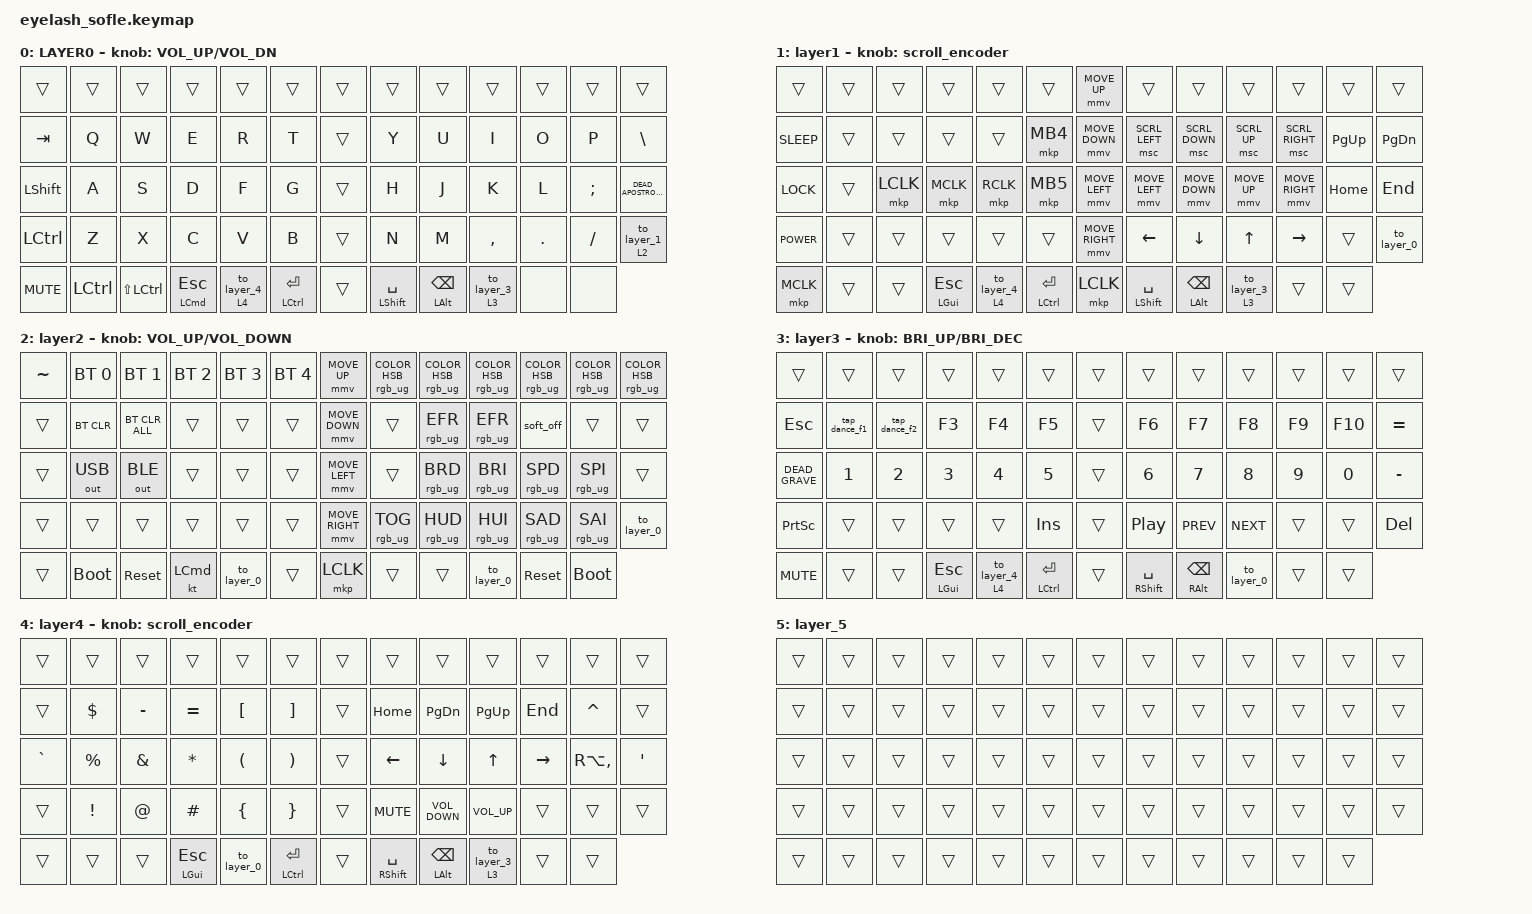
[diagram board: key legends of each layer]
#define ZMK_POINTING_DEFAULT_MOVE_VAL 1200  // 600
#define ZMK_POINTING_DEFAULT_SCRL_VAL 25   // 10

#include <input/processors.dtsi>
#include <zephyr/dt-bindings/input/input-event-codes.h>
#include <behaviors.dtsi>
#include <dt-bindings/zmk/bt.h>
#include <dt-bindings/zmk/keys.h>
#include <dt-bindings/zmk/outputs.h>
#include <dt-bindings/zmk/pointing.h>
#include <dt-bindings/zmk/rgb.h>

&mmv_input_listener { input-processors = <&zip_xy_scaler 2 1>; };

&msc_input_listener { input-processors = <&zip_scroll_scaler 2 1>; };

&msc {
    acceleration-exponent = <1>;      // 0
    time-to-max-speed-ms = <100>;       // 300
    delay-ms = <0>;                   // 0
};

&mmv {
    time-to-max-speed-ms = <500>;
    acceleration-exponent = <1>;
    trigger-period-ms = <16>;
};

&soft_off { hold-time-ms = <2000>; };

/ {
    scroll_encoder: scroll_encoder {
        compatible = "zmk,behavior-sensor-rotate";
        #sensor-binding-cells = <0>;
        bindings = <&msc SCRL_DOWN>, <&msc SCRL_UP>;

        tap-ms = <100>;
    };

    holdtolayer: holdtolayer {
        compatible = "zmk,behavior-hold-tap";
        label = "HOLDTOLAYER";
        bindings = <&mo>, <&to>;

        #binding-cells = <2>;
        tapping-term-ms = <150>;
    };

    tap_dance_f1: tap_dance_f1 {
        compatible = "zmk,behavior-tap-dance";
        label = "TAP_DANCE_F1";
        #binding-cells = <0>;
        bindings = <&kp F1>, <&kp F11>;

        tapping-term-ms = <300>;
    };

    tap_dance_f2: tap_dance_f2 {
        compatible = "zmk,behavior-tap-dance";
        label = "TAP_DANCE_F2";
        #binding-cells = <0>;
        bindings = <&kp F2>, <&kp F12>;
    };

    LAYER_4_1: LAYER_4_1 {
        compatible = "zmk,behavior-tap-dance";
        label = "LAYER_4_1";
        #binding-cells = <0>;
        bindings = <&holdtolayer 4 4>, <&holdtolayer 1 1>;
    };

    tapdance_layer_3: tapdance_layer_3 {
        compatible = "zmk,behavior-hold-tap";
        label = "TAPDANCE_LAYER_3";
        bindings = <&mo>, <&to_layer_3>;

        #binding-cells = <2>;
        tapping-term-ms = <150>;
    };

    tapdance_layer_4: tapdance_layer_4 {
        compatible = "zmk,behavior-hold-tap";
        label = "TAPDANCE_LAYER_4";
        bindings = <&mo>, <&to_layer_4>;

        #binding-cells = <2>;
        tapping-term-ms = <150>;
    };

    tapdance_layer_1: tapdance_layer_1 {
        compatible = "zmk,behavior-hold-tap";
        label = "TAPDANCE_LAYER_1";
        bindings = <&mo>, <&to_layer_1>;

        #binding-cells = <2>;
        tapping-term-ms = <150>;
    };

    behaviors {
    };

    combos {
        compatible = "zmk,combos";

        softoff {
            bindings = <&soft_off>;
            key-positions = <14 28 40>;
        };
    };

    macros {
        DEAD_GRAVE: DEAD_GRAVE {
            compatible = "zmk,behavior-macro";
            #binding-cells = <0>;
            bindings = <&kp GRAVE &kp SPACE>;
            label = "DEAD_GRAVE";
        };

        SHIFT_MCLK: SHIFT_MCLK {
            compatible = "zmk,behavior-macro";
            #binding-cells = <0>;
            bindings =
                <&macro_press>,
                <&kp LEFT_SHIFT>,
                <&macro_press>,
                <&mkp MB3>,
                <&macro_pause_for_release>,
                <&macro_release>,
                <&kp LEFT_SHIFT &mkp MB3>;

            label = "SHIFT_MCLK";
        };

        DEAD_APOSTROPHE: DEAD_APOSTROPHE {
            compatible = "zmk,behavior-macro";
            #binding-cells = <0>;
            bindings = <&kp APOSTROPHE &kp SPACE>;
            label = "DEAD_APOSTROPHE";
        };

        to_layer_0: to_layer_0 {
            compatible = "zmk,behavior-macro";
            #binding-cells = <0>;
            bindings = <&to 0 &rgb_ug RGB_OFF>;
            label = "TO_LAYER_0";
        };

        to_layer_1: to_layer_1 {
            compatible = "zmk,behavior-macro";
            #binding-cells = <0>;
            bindings = <&to 1 &rgb_ug RGB_ON &rgb_ug RGB_COLOR_HSB(240,100,50)>;
            label = "TO_LAYER_1";
        };

        to_layer_3: to_layer_3 {
            compatible = "zmk,behavior-macro";
            #binding-cells = <0>;
            bindings = <&to 3 &rgb_ug RGB_ON &rgb_ug RGB_COLOR_HSB(298,100,50)>;
            label = "TO_LAYER_3";
        };

        to_layer_4: to_layer_4 {
            compatible = "zmk,behavior-macro";
            #binding-cells = <0>;
            bindings = <&to 4 &rgb_ug RGB_ON &rgb_ug RGB_COLOR_HSB(118,100,52)>;
            label = "TO_LAYER_4";
        };
    };

    keymap {
        compatible = "zmk,keymap";

        layer0 {
            bindings = <
&trans          &trans     &trans         &trans                &trans                 &trans             &trans  &trans            &trans                  &trans                 &trans   &trans    &trans
&kp TAB         &kp Q      &kp W          &kp E                 &kp R                  &kp T              &trans  &kp Y             &kp U                   &kp I                  &kp O    &kp P     &kp BSLH
&kp LEFT_SHIFT  &kp A      &kp S          &kp D                 &kp F                  &kp G              &trans  &kp H             &kp J                   &kp K                  &kp L    &kp SEMI  &DEAD_APOSTROPHE
&kp LCTRL       &kp Z      &kp X          &kp C                 &kp V                  &kp B              &trans  &kp N             &kp M                   &kp COMMA              &kp DOT  &kp FSLH  &tapdance_layer_1 2 0
&kp C_MUTE      &kp LCTRL  &kp LS(LCTRL)  &mt LEFT_COMMAND ESC  &tapdance_layer_4 4 0  &mt LCTRL ENTER    &trans  &mt LSHIFT SPACE  &mt LEFT_ALT BACKSPACE  &tapdance_layer_3 3 0  &none    &none
            >;

            sensor-bindings = <&inc_dec_kp C_VOLUME_UP C_VOL_DN>;
            display-name = "LAYER0";
        };

        layer_1 {
            bindings = <
&trans       &trans  &trans     &trans            &trans                 &trans             &mmv MOVE_UP     &trans                &trans                  &trans                 &trans           &trans       &trans
&kp C_SLEEP  &trans  &trans     &trans            &trans                 &mkp MB4           &mmv MOVE_DOWN   &msc SCRL_LEFT        &msc SCRL_DOWN          &msc SCRL_UP           &msc SCRL_RIGHT  &kp PAGE_UP  &kp PAGE_DOWN
&kp K_LOCK   &trans  &mkp LCLK  &mkp MCLK         &mkp RCLK              &mkp MB5           &mmv MOVE_LEFT   &mmv MOVE_LEFT        &mmv MOVE_DOWN          &mmv MOVE_UP           &mmv MOVE_RIGHT  &kp HOME     &kp END
&kp K_POWER  &trans  &trans     &trans            &trans                 &trans             &mmv MOVE_RIGHT  &kp LEFT              &kp DOWN                &kp UP                 &kp RIGHT        &trans       &to_layer_0
&mkp MCLK    &trans  &trans     &mt LEFT_GUI ESC  &tapdance_layer_4 4 0  &mt LCTRL ENTER    &mkp LCLK        &mt LEFT_SHIFT SPACE  &mt LEFT_ALT BACKSPACE  &tapdance_layer_3 3 0  &trans           &trans
            >;

            display-name = "layer1";
            sensor-bindings = <&scroll_encoder>;
        };

        layer_2 {
            bindings = <
&kp TILDE  &bt BT_SEL 0  &bt BT_SEL 1    &bt BT_SEL 2      &bt BT_SEL 3  &bt BT_SEL 4    &mmv MOVE_UP     &rgb_ug RGB_COLOR_HSB(153,88,51)  &rgb_ug RGB_COLOR_HSB(236,100,52)  &rgb_ug RGB_COLOR_HSB(295,100,53)  &rgb_ug RGB_COLOR_HSB(168,100,50)  &rgb_ug RGB_COLOR_HSB(51,84,57)  &rgb_ug RGB_COLOR_HSB(33,96,52)
&trans     &bt BT_CLR    &bt BT_CLR_ALL  &trans            &trans        &trans          &mmv MOVE_DOWN   &trans                            &rgb_ug RGB_EFR                    &rgb_ug RGB_EFR                    &soft_off                          &trans                           &trans
&trans     &out OUT_USB  &out OUT_BLE    &trans            &trans        &trans          &mmv MOVE_LEFT   &trans                            &rgb_ug RGB_BRD                    &rgb_ug RGB_BRI                    &rgb_ug RGB_SPD                    &rgb_ug RGB_SPI                  &trans
&trans     &trans        &trans          &trans            &trans        &trans          &mmv MOVE_RIGHT  &rgb_ug RGB_TOG                   &rgb_ug RGB_HUD                    &rgb_ug RGB_HUI                    &rgb_ug RGB_SAD                    &rgb_ug RGB_SAI                  &to_layer_0
&trans     &bootloader   &sys_reset      &kt LEFT_COMMAND  &to_layer_0   &trans          &mkp LCLK        &trans                            &trans                             &to_layer_0                        &sys_reset                         &bootloader
            >;

            display-name = "layer2";
            sensor-bindings = <&inc_dec_kp C_VOLUME_UP C_VOLUME_DOWN>;
        };

        layer_3 {
            bindings = <
&trans           &trans         &trans         &trans            &trans                 &trans             &trans  &trans                 &trans                   &trans       &trans        &trans   &trans
&kp ESC          &tap_dance_f1  &tap_dance_f2  &kp F3            &kp F4                 &kp F5             &trans  &kp F6                 &kp F7                   &kp F8       &kp F9        &kp F10  &kp EQUAL
&DEAD_GRAVE      &kp NUMBER_1   &kp NUMBER_2   &kp NUMBER_3      &kp NUMBER_4           &kp NUMBER_5       &trans  &kp NUMBER_6           &kp NUMBER_7             &kp N8       &kp NUMBER_9  &kp N0   &kp MINUS
&kp PRINTSCREEN  &trans         &trans         &trans            &trans                 &kp INSERT         &trans  &kp C_PLAY_PAUSE       &kp C_PREV               &kp C_NEXT   &trans        &trans   &kp DELETE
&kp K_MUTE       &trans         &trans         &mt LEFT_GUI ESC  &tapdance_layer_4 4 0  &mt LCTRL ENTER    &trans  &mt RIGHT_SHIFT SPACE  &mt RIGHT_ALT BACKSPACE  &to_layer_0  &trans        &trans
            >;

            display-name = "layer3";
            sensor-bindings = <&inc_dec_kp C_BRI_UP C_BRI_DEC>;
        };

        layer_4 {
            bindings = <
&trans     &trans       &trans         &trans            &trans                &trans                   &trans  &trans                 &trans                  &trans                 &trans           &trans         &trans
&trans     &kp DOLLAR   &kp MINUS      &kp EQUAL         &kp LEFT_BRACKET      &kp RIGHT_BRACKET        &trans  &kp HOME               &kp PAGE_DOWN           &kp PAGE_UP            &kp END          &kp CARET      &trans
&kp GRAVE  &kp PERCENT  &kp AMPERSAND  &kp ASTERISK      &kp LEFT_PARENTHESIS  &kp RIGHT_PARENTHESIS    &trans  &kp LEFT_ARROW         &kp DOWN_ARROW          &kp UP_ARROW           &kp RIGHT_ARROW  &kp RA(COMMA)  &kp APOSTROPHE
&trans     &kp EXCL     &kp AT         &kp HASH          &kp LEFT_BRACE        &kp RIGHT_BRACE          &trans  &kp C_MUTE             &kp C_VOLUME_DOWN       &kp C_VOLUME_UP        &trans           &trans         &trans
&trans     &trans       &trans         &mt LEFT_GUI ESC  &to_layer_0           &mt LCTRL ENTER          &trans  &mt RIGHT_SHIFT SPACE  &mt LEFT_ALT BACKSPACE  &tapdance_layer_3 3 0  &trans           &trans
            >;

            display-name = "layer4";
            sensor-bindings = <&scroll_encoder>;
        };

        layer_5 {
            bindings = <
&trans  &trans  &trans  &trans  &trans  &trans    &trans  &trans  &trans  &trans  &trans  &trans  &trans
&trans  &trans  &trans  &trans  &trans  &trans    &trans  &trans  &trans  &trans  &trans  &trans  &trans
&trans  &trans  &trans  &trans  &trans  &trans    &trans  &trans  &trans  &trans  &trans  &trans  &trans
&trans  &trans  &trans  &trans  &trans  &trans    &trans  &trans  &trans  &trans  &trans  &trans  &trans
&trans  &trans  &trans  &trans  &trans  &trans    &trans  &trans  &trans  &trans  &trans  &trans
            >;
        };
    };
};
